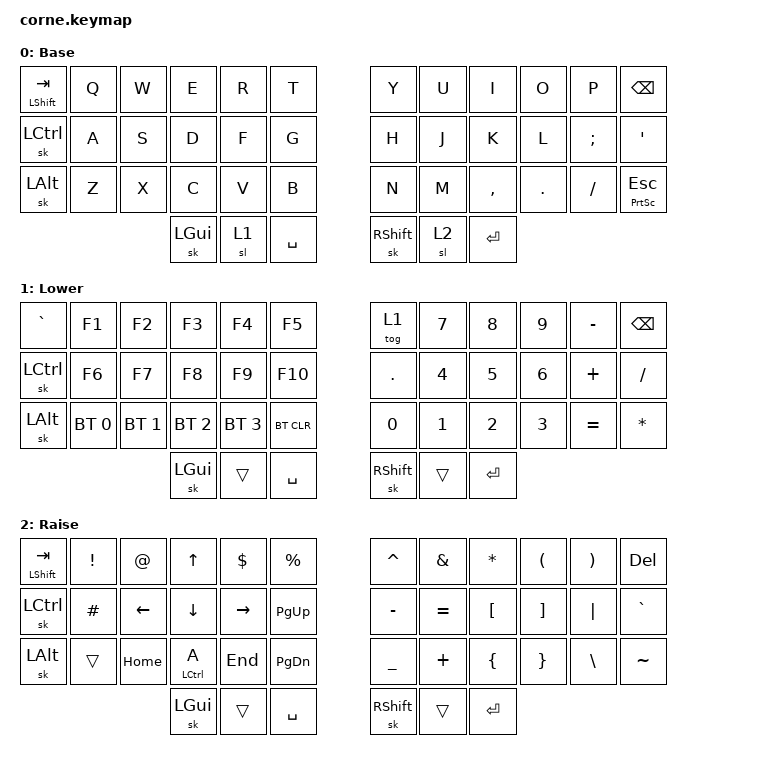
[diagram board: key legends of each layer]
/*
 * Copyright (c) 2020 The ZMK Contributors
 *
 * SPDX-License-Identifier: MIT
 */

#include <behaviors.dtsi>
#include <dt-bindings/zmk/bt.h>
#include <dt-bindings/zmk/keys.h>

/ {
    combos { compatible = "zmk,combos"; };

    keymap {
        compatible = "zmk,keymap";

        default_layer {
            // -----------------------------------------------------------------------------------------
            // |  TAB |  Q  |  W  |  E  |  R  |  T  |   |  Y  |  U   |  I  |  O  |  P  | BKSP |
            // | CTRL |  A  |  S  |  D  |  F  |  G  |   |  H  |  J   |  K  |  L  |  ;  |  '   |
            // | SHFT |  Z  |  X  |  C  |  V  |  B  |   |  N  |  M   |  ,  |  .  |  /  | ESC  |
            //                    | GUI | LWR | SPC |   | ENT | RSE  | ALT |

            label = "Base";
            bindings = <
&mt LSHIFT TAB  &kp Q  &kp W  &kp E     &kp R  &kp T        &kp Y      &kp U  &kp I      &kp O    &kp P     &kp BSPC
&sk LCTRL       &kp A  &kp S  &kp D     &kp F  &kp G        &kp H      &kp J  &kp K      &kp L    &kp SEMI  &kp SQT
&sk LALT        &kp Z  &kp X  &kp C     &kp V  &kp B        &kp N      &kp M  &kp COMMA  &kp DOT  &kp FSLH  &mt PRINTSCREEN ESCAPE
                              &sk LGUI  &sl 1  &kp SPACE    &sk RSHFT  &sl 2  &kp RET
            >;
        };

        lower_layer {
            // -----------------------------------------------------------------------------------------
            // |  TAB |  1  |  2  |  3  |  4  |  5  |   |  6  |  7  |  8  |  9  |  0  | BKSP |
            // | BTCLR| BT1 | BT2 | BT3 | BT4 | BT5 |   | LFT | DWN |  UP | RGT |     |      |
            // | SHFT |     |     |     |     |     |   |     |     |     |     |     |      |
            //                    | GUI |     | SPC |   | ENT |     | ALT |

            label = "Lower";
            bindings = <
&kp GRAVE  &kp F1        &kp F2        &kp F3        &kp F4        &kp F5        &tog 1      &kp N7  &kp N8        &kp N9        &kp MINUS  &kp BSPC
&sk LCTRL  &kp F6        &kp F7        &kp F8        &kp F9        &kp F10       &kp PERIOD  &kp N4  &kp N5        &kp NUMBER_6  &kp PLUS   &kp SLASH
&sk LALT   &bt BT_SEL 0  &bt BT_SEL 1  &bt BT_SEL 2  &bt BT_SEL 3  &bt BT_CLR    &kp N0      &kp N1  &kp NUMBER_2  &kp N3        &kp EQUAL  &kp STAR
                                       &sk LGUI      &trans        &kp SPACE     &sk RSHFT   &trans  &kp RET
            >;
        };

        raise_layer {
            // -----------------------------------------------------------------------------------------
            // |  TAB |  !  |  @  |  #  |  $  |  %  |   |  ^  |  &  |  *  |  (  |  )  | BKSP |
            // | CTRL |     |     |     |     |     |   |  -  |  =  |  [  |  ]  |  \  |  `   |
            // | SHFT |     |     |     |     |     |   |  _  |  +  |  {  |  }  | "|" |  ~   |
            //                    | GUI |     | SPC |   | ENT |     | ALT |

            label = "Raise";
            bindings = <
&mt LSHIFT TAB  &kp EXCL  &kp AT    &kp UP_ARROW  &kp DLLR   &kp PRCNT    &kp CARET  &kp AMPS   &kp ASTERISK  &kp LPAR  &kp RPAR  &kp DELETE
&sk LCTRL       &kp HASH  &kp LEFT  &kp DOWN      &kp RIGHT  &kp PG_UP    &kp MINUS  &kp EQUAL  &kp LBKT      &kp RBKT  &kp PIPE  &kp GRAVE
&sk LALT        &trans    &kp HOME  &mt LCTRL A   &kp END    &kp PG_DN    &kp UNDER  &kp PLUS   &kp LBRC      &kp RBRC  &kp BSLH  &kp TILDE
                                    &sk LGUI      &trans     &kp SPACE    &sk RSHFT  &trans     &kp RET
            >;
        };
    };
};
